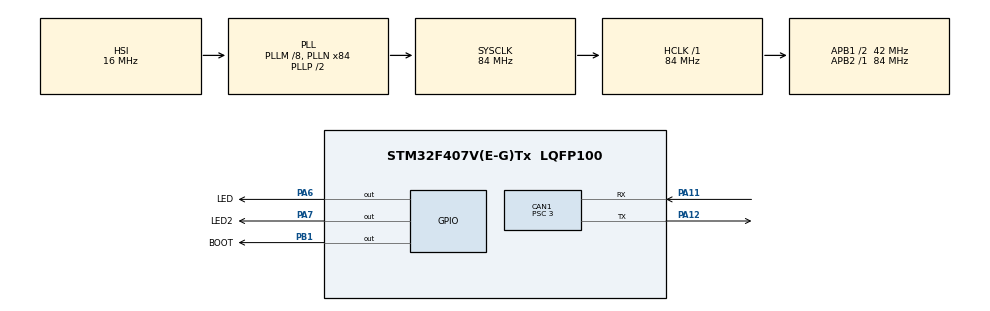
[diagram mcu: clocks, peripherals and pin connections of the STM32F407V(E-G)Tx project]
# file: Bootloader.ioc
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CAN1.ABOM=DISABLE
CAN1.BS1=CAN_BS1_11TQ
CAN1.BS2=CAN_BS2_2TQ
CAN1.CalculateBaudRate=1000000
CAN1.CalculateTimeBit=1000
CAN1.CalculateTimeQuantum=71.42857142857143
CAN1.Prescaler=3
Mcu.Family=STM32F4
Mcu.Name=STM32F407V(E-G)Tx
Mcu.Package=LQFP100
NVIC.CAN1_RX0_IRQn=true\:0\:0\:false\:false\:true\:true\:true\:true
NVIC.CAN1_RX1_IRQn=true\:0\:0\:false\:false\:true\:true\:true\:true
NVIC.PriorityGroup=NVIC_PRIORITYGROUP_4
PA11.GPIO_PuPd=GPIO_PULLDOWN
PA11.Mode=CAN_Activate
PA11.Signal=CAN1_RX
PA12.GPIO_PuPd=GPIO_PULLDOWN
PA12.Mode=CAN_Activate
PA12.Signal=CAN1_TX
PA6.GPIO_Label=LED
PA6.Signal=GPIO_Output
PA7.GPIO_Label=LED2
PA7.Signal=GPIO_Output
PB1.GPIO_Label=BOOT
PB1.Signal=GPIO_Output
PH0-OSC_IN.Mode=HSE-External-Oscillator
PH0-OSC_IN.Signal=RCC_OSC_IN
PH1-OSC_OUT.Mode=HSE-External-Oscillator
PH1-OSC_OUT.Signal=RCC_OSC_OUT
ProjectManager.HeapSize=0x200
ProjectManager.StackSize=0x400
ProjectManager.TargetToolchain=CMake
RCC.48MHZClocksFreq_Value=42000000
RCC.AHBFreq_Value=84000000
RCC.APB1CLKDivider=RCC_HCLK_DIV2
RCC.APB1Freq_Value=42000000
RCC.APB1TimFreq_Value=84000000
RCC.APB2Freq_Value=84000000
RCC.APB2TimFreq_Value=84000000
RCC.CortexFreq_Value=84000000
RCC.HCLKFreq_Value=84000000
RCC.HSE_VALUE=25000000
RCC.HSI_VALUE=16000000
RCC.LSE_VALUE=32768
RCC.PLLM=8
RCC.PLLN=84
RCC.SYSCLKFreq_VALUE=84000000
RCC.SYSCLKSource=RCC_SYSCLKSOURCE_PLLCLK
RCC.VCOOutputFreq_Value=168000000
board=custom

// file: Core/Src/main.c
/* USER CODE BEGIN Header */
/**
  ******************************************************************************
  * @file           : main.c
  * @brief          : Main program body
  ******************************************************************************
  * @attention
  * Copyright (c) 2024 STMicroelectronics.
  * All rights reserved.
  *
  * This software is licensed under terms that can be found in the LICENSE file
  * in the root directory of this software component.
  * If no LICENSE file comes with this software, it is provided AS-IS.
  *
  ******************************************************************************
  */
/* USER CODE END Header */
#include "main.h"
#include "can.h"
#include "gpio.h"

/* USER CODE BEGIN Includes */
#include "isotp.h"
#include "stm32f407x_flash.h"
#include "stdbool.h"
/* USER CODE END Includes */

/* USER CODE BEGIN PTD */
typedef void (*ptrF)(uint32_t dlyticks);
typedef void (*pFunction)(void);

typedef enum {
  STATE_JUMP_APP,
  STATE_NEW_FIRMWARE
} bootloaderState;

struct BootloaderSharedApi {
  void (*goToBootloader)(void);
};
/* USER CODE END PTD */

/* USER CODE BEGIN PD */
#define SHARED_FUNC __attribute__((section(".shared_functions")))

#define MAX_FIRMWARE_SIZE 1024 * 50
#define ISOTP_BUFSIZE 4096
#define ISOTP_RECV_CAN_ID 0x700

#define ACK 0x06
#define NACK 0x15
/* USER CODE END PD */

/* USER CODE BEGIN PV */
bootloaderState __attribute__((section(".bootloader_ram"))) state = STATE_JUMP_APP;

CAN_TxHeaderTypeDef TxHeader;
uint8_t TxData[8];
uint32_t TxMailbox;
CAN_RxHeaderTypeDef RxHeader;
uint8_t RxData[8];
uint32_t file_pos = 0; // Position in firmware file in words
uint32_t firmware_size = 0;
uint8_t isotp_payload_rx[7] = {0};
uint8_t isotp_payload_tx[7] = {0};
int ret;

static IsoTpLink isotp_link;

static uint8_t isotp_rx_buffer[ISOTP_BUFSIZE];
static uint8_t isotp_tx_buffer[ISOTP_BUFSIZE];
/* USER CODE END PV */

void SystemClock_Config(void);
/* USER CODE BEGIN PFP */
void SHARED_FUNC goToBootloader(void);
void goToApp(uint32_t);
/* USER CODE END PFP */

/* USER CODE BEGIN 0 */
void SHARED_FUNC goToBootloader(void)
{
  HAL_GPIO_TogglePin(LED_GPIO_Port, LED_Pin);
  state = STATE_NEW_FIRMWARE;
  goToApp(FLASH_BOOTLOADER_ADDR);
}

struct BootloaderSharedApi shared_api __attribute__((section(".bootloader_api"))) = {
  goToBootloader
};

/**
 * Jumps to specified address, if not specified, jumps to application address
 */
void goToApp(uint32_t jumpAddress)
{
  uint32_t FlashAddress = jumpAddress ? jumpAddress : FLASH_APP_ADDR;
  uint32_t JumpAddress;
  pFunction Jump_to_Application;
  // printf("Jumping to Application \n");

  if (((*(uint32_t *)FlashAddress) & 0x2FFC0000) == 0x20000000)
  {
    // HAL_Delay(100);
    // printf("Valid Stack Pointer...\n");

    JumpAddress = *(uint32_t *)(FlashAddress + 4);
    Jump_to_Application = (pFunction)JumpAddress;

    __set_MSP(*(uint32_t *)FlashAddress);
    Jump_to_Application();
  }
  else
  {
    // printf("Failed to Start Application\n");
  }
}

void HAL_CAN_RxFifo0MsgPendingCallback(CAN_HandleTypeDef *hcan) {
  if (HAL_CAN_GetRxMessage(&hcan1, CAN_RX_FIFO0, &RxHeader, RxData) != HAL_OK) {
    Error_Handler();
  }

  switch (RxHeader.StdId)
  {
  case ISOTP_RECV_CAN_ID:
    isotp_on_can_message(&isotp_link, RxData, RxHeader.DLC);
    break;
  default:
    break;
  }
}
/* USER CODE END 0 */

int main(void)
{

  /* MCU Configuration--------------------------------------------------------*/

  /* Reset of all peripherals, Initializes the Flash interface and the Systick. */
  HAL_Init();

  /* Configure the system clock */
  SystemClock_Config();

  /* Initialize all configured peripherals */
  MX_GPIO_Init();
  MX_CAN1_Init();
  /* USER CODE BEGIN 2 */

  // for testing, set boot pin to high
//  HAL_GPIO_WritePin(BOOT_GPIO_Port, BOOT_Pin, GPIO_PIN_SET);

  // If BOOT pin is reset, jump to application
  /*GPIO_PinState boot_pin_state = HAL_GPIO_ReadPin(BOOT_GPIO_Port, BOOT_Pin);*/
  /*if (boot_pin_state == GPIO_PIN_RESET) {*/
  /*  goToApp(FLASH_APP_ADDR);*/
  /*}*/

  if (state == STATE_JUMP_APP) {
    goToApp(FLASH_APP_ADDR);
  }

  // Activate CAN RX interrupt
  if (HAL_CAN_ActivateNotification(&hcan1, CAN_IT_RX_FIFO0_MSG_PENDING) != HAL_OK)
  {
    Error_Handler();
  }

  // Initialize ISO-TP
  isotp_init_link(&isotp_link, 0x701, isotp_tx_buffer, ISOTP_BUFSIZE, isotp_rx_buffer, ISOTP_BUFSIZE);

  // Erase flash
  flashEraseAppSectors();

  // Send inital NACK message until we get response from host
  uint16_t copy_size;
  while (isotp_payload_rx[0] != ACK) {
    isotp_payload_tx[0] = NACK;
    ret = isotp_send(&isotp_link, isotp_payload_tx, 1);
    HAL_Delay(5);
    ret = isotp_receive(&isotp_link, isotp_payload_rx, sizeof(isotp_payload_rx), &copy_size);
    HAL_Delay(100);
  }

  // Byte 0: ACK
  // Byte 1-4: Firmware size (little endian)
  memcpy(&firmware_size, &isotp_payload_rx[1], 4);

  memset(isotp_payload_rx, 0, sizeof(isotp_payload_rx));
  memset(isotp_payload_tx, 0, sizeof(isotp_payload_tx));

  /* USER CODE END 2 */

  /* Infinite loop */
  /* USER CODE BEGIN WHILE */
  while (1)
  {
    // Poll ISO-TP Link
    isotp_poll(&isotp_link);

    /* USER CODE END WHILE */

    /* USER CODE BEGIN 3 */

    // Receive firmware at ISOTP_BUFSIZE increments, and write to flash
    if (isotp_link.receive_status == ISOTP_RECEIVE_STATUS_FULL) {
      // Write to flash
      ret = flashWriteApp(file_pos, (uint32_t *) isotp_link.receive_buffer, isotp_link.receive_size / 4);

      file_pos += isotp_link.receive_size;

      if (ret != 0) {
        // Error writing to flash
        // Send error message
        isotp_payload_tx[0] = NACK;
        isotp_send(&isotp_link, isotp_payload_tx, 1);
        Error_Handler();
      }

      // Send success message
      isotp_payload_tx[0] = ACK;
      isotp_send(&isotp_link, isotp_payload_tx, 1);

      isotp_link.receive_status = ISOTP_RECEIVE_STATUS_IDLE;
    } else if (file_pos >= firmware_size) {
      // Firmware received
      // Send success message
      isotp_payload_tx[0] = ACK;
      isotp_send(&isotp_link, isotp_payload_tx, 1);

      // Jump to application
      state = STATE_JUMP_APP;
      goToApp(FLASH_APP_ADDR);
    }
  }
  /* USER CODE END 3 */
}

void SystemClock_Config(void)
{
  RCC_OscInitTypeDef RCC_OscInitStruct = {0};
  RCC_ClkInitTypeDef RCC_ClkInitStruct = {0};

  /** Configure the main internal regulator output voltage
  */
  __HAL_RCC_PWR_CLK_ENABLE();
  __HAL_PWR_VOLTAGESCALING_CONFIG(PWR_REGULATOR_VOLTAGE_SCALE1);

  /** Initializes the RCC Oscillators according to the specified parameters
  * in the RCC_OscInitTypeDef structure.
  */
  RCC_OscInitStruct.OscillatorType = RCC_OSCILLATORTYPE_HSI;
  RCC_OscInitStruct.HSIState = RCC_HSI_ON;
  RCC_OscInitStruct.HSICalibrationValue = RCC_HSICALIBRATION_DEFAULT;
  RCC_OscInitStruct.PLL.PLLState = RCC_PLL_ON;
  RCC_OscInitStruct.PLL.PLLSource = RCC_PLLSOURCE_HSI;
  RCC_OscInitStruct.PLL.PLLM = 8;
  RCC_OscInitStruct.PLL.PLLN = 84;
  RCC_OscInitStruct.PLL.PLLP = RCC_PLLP_DIV2;
  RCC_OscInitStruct.PLL.PLLQ = 4;
  if (HAL_RCC_OscConfig(&RCC_OscInitStruct) != HAL_OK)
  {
    Error_Handler();
  }

  /** Initializes the CPU, AHB and APB buses clocks
  */
  RCC_ClkInitStruct.ClockType = RCC_CLOCKTYPE_HCLK|RCC_CLOCKTYPE_SYSCLK
                              |RCC_CLOCKTYPE_PCLK1|RCC_CLOCKTYPE_PCLK2;
  RCC_ClkInitStruct.SYSCLKSource = RCC_SYSCLKSOURCE_PLLCLK;
  RCC_ClkInitStruct.AHBCLKDivider = RCC_SYSCLK_DIV1;
  RCC_ClkInitStruct.APB1CLKDivider = RCC_HCLK_DIV2;
  RCC_ClkInitStruct.APB2CLKDivider = RCC_HCLK_DIV1;

  if (HAL_RCC_ClockConfig(&RCC_ClkInitStruct, FLASH_LATENCY_2) != HAL_OK)
  {
    Error_Handler();
  }
}

void Error_Handler(void)
{
  __disable_irq();
  while (1)
  {
  }
}
